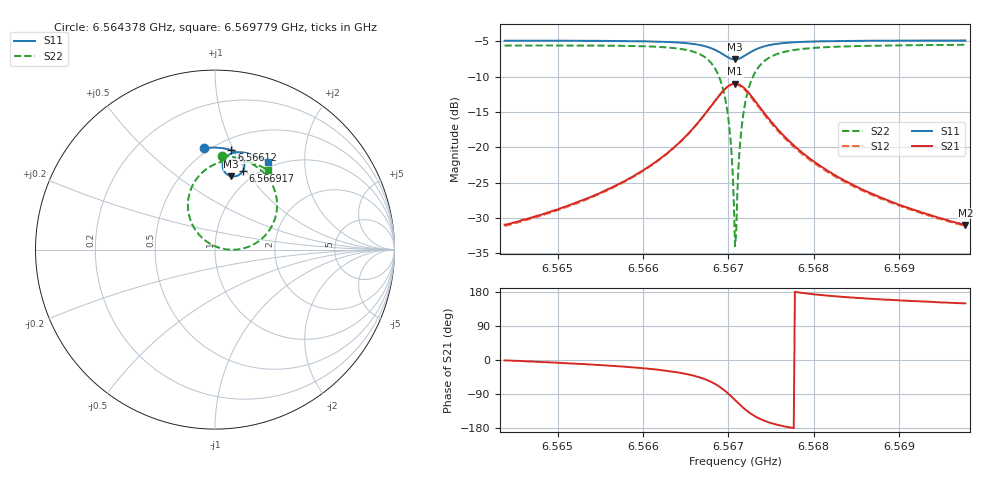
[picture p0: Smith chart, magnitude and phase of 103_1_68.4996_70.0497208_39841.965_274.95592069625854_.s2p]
#  HZ  S  RI  R  50.00
! Rohde & Schwarz Vector Network Analyzer
! Rohde-Schwarz,ZNB20-2Port,1311601062101988,3.16
! Created: UTC 3/20/2024, 5:08:17 PM
! freq[Hz]  re:S11  im:S11  re:S21  im:S21  re:S12  im:S12  re:S22  im:S22
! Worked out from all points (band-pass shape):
!   401 points, 6.564378 GHz to 6.569779 GHz, reference 50 ohm
!   highest |S21| = -10.99 dB at 6.567079 GHz (marker M1); lowest = -31.0 dB at 6.569779 GHz (marker M2)
!   |S21| within 3 dB of the highest: 6.566809 GHz to 6.567349 GHz (540 kHz wide, 0.00822 % of centre)
!   lowest |S11| = -7.6 dB at 6.567079 GHz (marker M3), VSWR 2.44, Z = 41.4 + j41.1 ohm
!   |S11| at or under -10 dB: nowhere
!   |S22| runs from -34.0 to -5.5 dB; largest |S21 - S12| = 0.013
!   S11 on the Smith chart (normalised r, x): 6.564378 GHz: 0.47, +0.78; 6.56612 GHz: 0.60, +0.98; 6.566917 GHz: 0.87, +0.97; 6.569779 GHz: 0.91, +1.33
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6.5643778e9  -0.0612 0.5657  0.0284 -0.000464  0.0277 -0.000833  0.0385 0.5241
6.5652826e9  0.0129 0.5678  0.0413 -0.00782  0.0407 -0.00832  0.1244 0.5105
6.5661198e9  0.0911 0.5538  0.0699 -0.0316  0.0688 -0.0323  0.2336 0.4605
6.5661873e9  0.0984 0.551  0.0738 -0.0359  0.0726 -0.0367  0.2452 0.4518
6.566687e9  0.1564 0.5031  0.1082 -0.1181  0.106 -0.1205  0.3421 0.2915
6.566822e9  0.1642 0.4689  0.1013 -0.1778  0.0968 -0.1812  0.3356 0.1776
6.5669166e9  0.155 0.4374  0.0682 -0.2321  0.0607 -0.2352  0.2769 0.076
6.5669706e9  0.1398 0.4203  0.0314 -0.26  0.0214 -0.2616  0.2088 0.0254
6.5670111e9  0.1232 0.4111  -0.00569 -0.2737  -0.0172 -0.273  0.1411 0.00278
6.5670381e9  0.1104 0.408  -0.0336 -0.2769  -0.0455 -0.2744  0.0911 -0.000998
6.5670651e9  0.0966 0.4078  -0.0622 -0.275  -0.0742 -0.2703  0.04 0.00562
6.5670786e9  0.0898 0.409  -0.0764 -0.2717  -0.0881 -0.266  0.0153 0.0129
6.5670921e9  0.0833 0.4108  -0.0903 -0.2671  -0.1015 -0.2603  -0.00865 0.0226
6.5671056e9  0.077 0.4134  -0.1037 -0.2613  -0.1143 -0.2535  -0.0312 0.0348
6.5671326e9  0.0654 0.4206  -0.1276 -0.2459  -0.1369 -0.2364  -0.0712 0.0649
6.5671732e9  0.0523 0.4349  -0.1557 -0.2167  -0.1622 -0.2056  -0.1159 0.1199
6.5672272e9  0.0432 0.4567  -0.1773 -0.1732  -0.1801 -0.162  -0.1462 0.1986
6.5672947e9  0.0433 0.4821  -0.1832 -0.1234  -0.183 -0.1134  -0.1479 0.2861
6.5675513e9  0.083 0.5317  -0.138 -0.0251  -0.1351 -0.021  -0.0451 0.4506
6.5679834e9  0.1438 0.5423  -0.0804 0.00873  -0.0785 0.00992  0.0856 0.4975
6.5688882e9  0.2282 0.5214  -0.039 0.0151  -0.038 0.0153  0.2158 0.4796
6.5697795e9  0.294 0.4894  -0.0243 0.0143  -0.0236 0.0145  0.2938 0.4436
